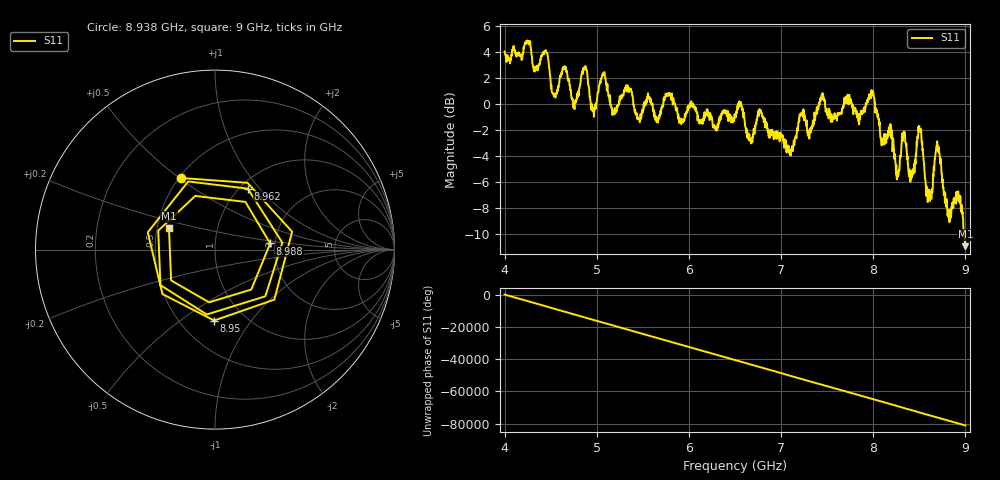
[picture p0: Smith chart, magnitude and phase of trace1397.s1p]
! Created with skrf 1.8.0 (http://scikit-rf.org).
# Hz S RI R 50.0
!freq ReS11 ImS11
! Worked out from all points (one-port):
!   1601 points, 4 GHz to 9 GHz, reference 50 ohm
!   lowest |S11| = -11.0 dB at 9 GHz (marker M1), VSWR 1.79, Z = 28.9 + j7.51 ohm
!   |S11| at or under -10 dB: 8.983042 GHz to end of sweep
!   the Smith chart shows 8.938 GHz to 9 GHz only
!   S11 on the Smith chart (normalised r, x): 8.938 GHz: 0.51, +0.51; 8.95 GHz: 0.72, -0.68; 8.962 GHz: 1.09, +0.87; 8.988 GHz: 1.88, +0.14; 9 GHz: 0.58, +0.15
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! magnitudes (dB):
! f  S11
! 4 GHz  4.0
! 4.441 GHz  4.0
! 4.541 GHz  0.5
! 4.625 GHz  2.6
! 4.753 GHz  -0.1
! 4.869 GHz  2.7
! 4.962 GHz  -0.3
! 5.069 GHz  2.2
! 5.25 GHz  0.6
! 5.875 GHz  -0.7
! 6.5 GHz  -1.0
! 7.125 GHz  -3.6
! 7.222 GHz  -0.9
! 7.75 GHz  0.4
! 7.988 GHz  0.9
! 8.259 GHz  -5.5
! 8.331 GHz  -2.2
! 8.375 GHz  -4.7
! 8.425 GHz  -5.4
! 8.506 GHz  -2.0
! 8.6 GHz  -7.2
! 8.697 GHz  -3.2
! 8.822 GHz  -8.2
! 8.938 GHz  -7.1
! 8.95 GHz  -8.1
! 8.962 GHz  -8.3
! 8.988 GHz  -10.2
! 9 GHz  -11.0
